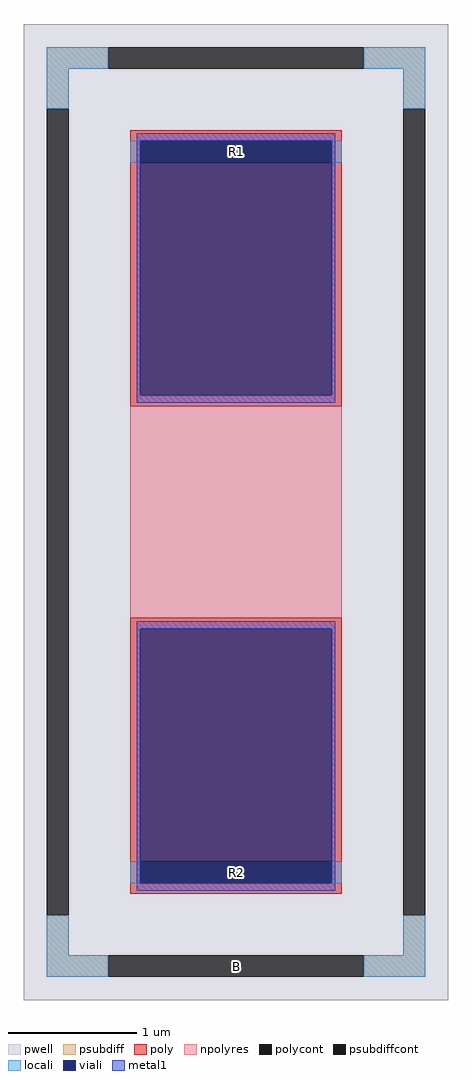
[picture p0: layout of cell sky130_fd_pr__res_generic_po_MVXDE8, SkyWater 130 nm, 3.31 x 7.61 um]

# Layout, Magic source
magic
tech sky130A
magscale 1 2
<< pwell >>
rect -331 -761 331 761
<< psubdiff >>
rect -295 691 -199 725
rect 199 691 295 725
rect -295 629 -261 691
rect 261 629 295 691
rect -295 -691 -261 -629
rect 261 -691 295 -629
rect -295 -725 -199 -691
rect 199 -725 295 -691
<< psubdiffcont >>
rect -199 691 199 725
rect -295 -629 -261 629
rect 261 -629 295 629
rect -199 -725 199 -691
<< poly >>
rect -165 579 165 595
rect -165 545 -149 579
rect 149 545 165 579
rect -165 165 165 545
rect -165 -545 165 -165
rect -165 -579 -149 -545
rect 149 -579 165 -545
rect -165 -595 165 -579
<< polycont >>
rect -149 545 149 579
rect -149 -579 149 -545
<< npolyres >>
rect -165 -165 165 165
<< locali >>
rect -295 691 -199 725
rect 199 691 295 725
rect -295 629 -261 691
rect 261 629 295 691
rect -165 545 -149 579
rect 149 545 165 579
rect -165 -579 -149 -545
rect 149 -579 165 -545
rect -295 -691 -261 -629
rect 261 -691 295 -629
rect -295 -725 -199 -691
rect 199 -725 295 -691
<< viali >>
rect -149 545 149 579
rect -149 182 149 545
rect -149 -545 149 -182
rect -149 -579 149 -545
<< metal1 >>
rect -155 579 155 591
rect -155 182 -149 579
rect 149 182 155 579
rect -155 170 155 182
rect -155 -182 155 -170
rect -155 -579 -149 -182
rect 149 -579 155 -182
rect -155 -591 155 -579
<< labels >>
rlabel psubdiffcont 0 -708 0 -708 0 B
port 1 nsew
rlabel polycont 0 562 0 562 0 R1
port 2 nsew
rlabel polycont 0 -562 0 -562 0 R2
port 3 nsew
<< properties >>
string FIXED_BBOX -278 -708 278 708
string gencell sky130_fd_pr__res_generic_po
string library sky130
string parameters w 1.650 l 1.650 m 1 nx 1 wmin 0.330 lmin 1.650 class resistor rho 48.2 val 48.2 dummy 0 dw 0.0 term 0.0 sterm 0.0 caplen 0.4 snake 0 guard 1 glc 1 grc 1 gtc 1 gbc 1 roverlap 0 endcov 100 full_metal 1 hv_guard 0 n_guard 0 vias 1 viagb 0 viagt 0 viagl 0 viagr 0 doports 1
<< end >>
